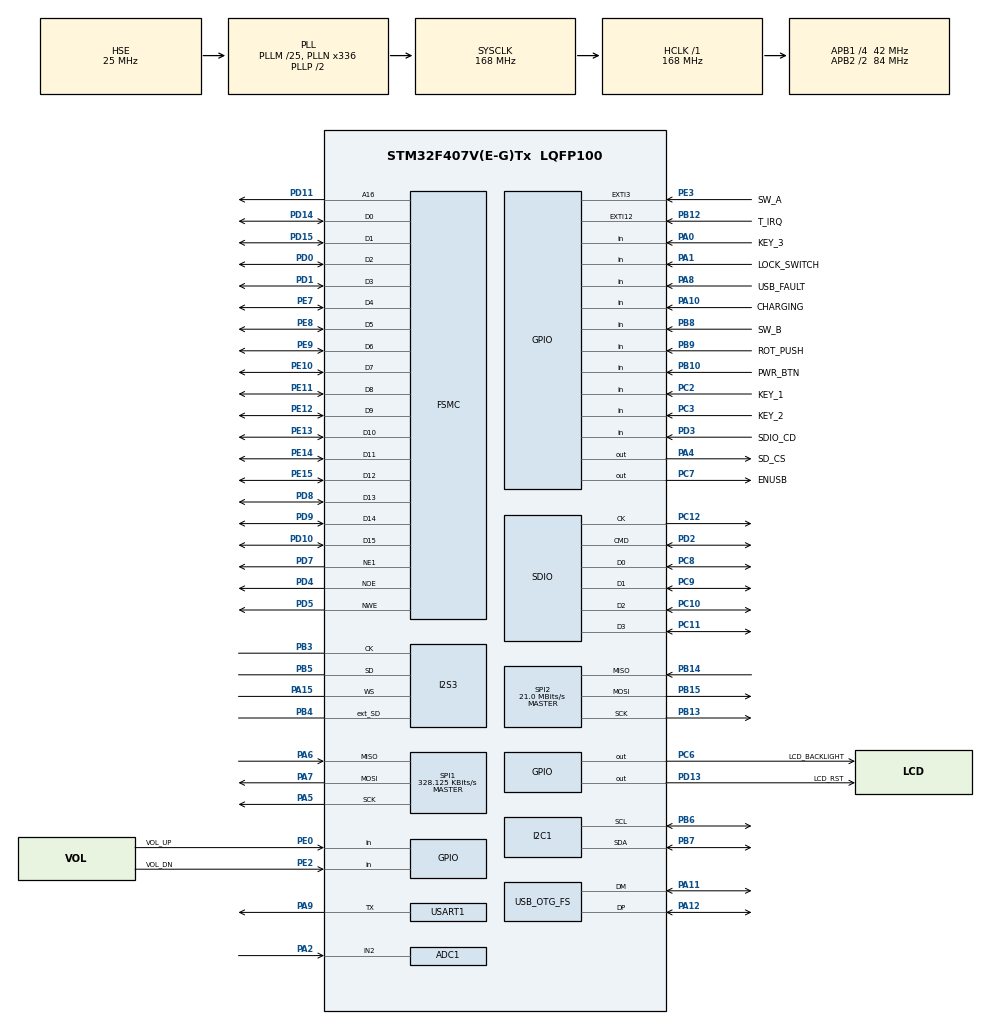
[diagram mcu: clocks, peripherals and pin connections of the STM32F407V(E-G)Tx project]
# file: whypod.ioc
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PD7.Mode=NorPsramChipSelect1_1
PH0-OSC_IN.Signal=RCC_OSC_IN
FATFS._USE_LFN=2
SPI1.VirtualType=VM_MASTER
FATFS0.BSP.api=Unknown
PB10.GPIO_PuPd=GPIO_PULLUP
SPI2.VirtualType=VM_MASTER
VP_FATFS_VS_SDIO.Mode=SDIO
PA10.GPIO_PuPd=GPIO_PULLUP
PC12.Signal=SDIO_CK
Dma.SDIO_RX.1.Direction=DMA_PERIPH_TO_MEMORY
PC6.GPIO_Label=LCD_BACKLIGHT
Dma.SDIO_RX.1.Priority=DMA_PRIORITY_VERY_HIGH
PB13.Signal=SPI2_SCK
RCC.SYSCLKSource=RCC_SYSCLKSOURCE_PLLCLK
PA9.GPIO_ModeDefaultOD=GPIO_MODE_AF_PP
Dma.SDIO_RX.1.Instance=DMA2_Stream3
Dma.SDIO_TX.2.MemDataAlignment=DMA_MDATAALIGN_WORD
SPI1.Direction=SPI_DIRECTION_2LINES
PD4.Signal=FSMC_NOE
RCC.APB2TimFreq_Value=168000000
Dma.SDIO_RX.1.FIFOMode=DMA_FIFOMODE_ENABLE
PB6.Signal=I2C1_SCL
Dma.ADC1.0.Direction=DMA_PERIPH_TO_MEMORY
PC7.Signal=GPIO_Output
PB6.Mode=I2C
SPI1.CalculateBaudRate=328.125 KBits/s
PC3.Signal=GPIO_Input
PD0.Signal=FSMC_D2
PD8.Signal=FSMC_D13
PA1.GPIO_PuPd=GPIO_PULLUP
Dma.ADC1.0.MemDataAlignment=DMA_MDATAALIGN_HALFWORD
FATFS0.BSP.ip=GPIO
PB3.Mode=Full_Duplex_Master
ADC1.ScanConvMode=DISABLE
FATFS0.BSP.i2caddr=0
PB12.GPIO_Label=T_IRQ
I2S3.ErrorAudioFreq=1.72 %
PE9.Signal=FSMC_D6
PB14.Mode=Full_Duplex_Master
Dma.ADC1.0.PeriphInc=DMA_PINC_DISABLE
PC9.Mode=SD_4_bits_Wide_bus
SPI2.CalculateBaudRate=21.0 MBits/s
PE2.Signal=GPIO_Input
PA8.Signal=GPIO_Input
PE13.Mode=16b-d1
PE10.Signal=FSMC_D7
FATFS._FS_TIMEOUT=10000
PD15.Mode=16b-d1
Mcu.Package=LQFP100
PB9.Signal=GPIO_Input
SPI2.Mode=SPI_MODE_MASTER
FATFS0.BSP.solution=PD3
PA10.Signal=GPIO_Input
PB9.GPIO_PuPd=GPIO_PULLUP
PE9.Mode=16b-d1
PC11.Mode=SD_4_bits_Wide_bus
RCC.APB2CLKDivider=RCC_HCLK_DIV2
PD4.Mode=Lcd1
RCC.APB1TimFreq_Value=84000000
Dma.ADC1.0.FIFOMode=DMA_FIFOMODE_DISABLE
PB13.Mode=Full_Duplex_Master
VP_LIBJPEG_VS_JPEGLIB.Mode=Enabled
PA4.GPIO_Label=SD_CS
Dma.SDIO_TX.2.FIFOThreshold=DMA_FIFO_THRESHOLD_FULL
PD15.Signal=FSMC_D1
PA5.Mode=Full_Duplex_Master
PE12.Mode=16b-d1
Dma.SDIO_TX.2.MemInc=DMA_MINC_ENABLE
FATFS0.BSP.STBoard=false
I2S3.FullDuplexMode=I2S_FULLDUPLEXMODE_ENABLE
Dma.ADC1.0.Instance=DMA2_Stream0
FATFS0.BSP.mode=Input
PD3.Signal=GPIO_Input
PB8.GPIO_PuPd=GPIO_PULLUP
PC6.Signal=GPIO_Output
PE10.Mode=16b-d1
PC2.Signal=GPIO_Input
PD7.Signal=FSMC_NE1
PD1.Signal=FSMC_D3
RCC.APB1CLKDivider=RCC_HCLK_DIV4
PC14-OSC32_IN.Signal=RCC_OSC32_IN
I2S3.DataFormat=I2S_DATAFORMAT_24B
PA0-WKUP.GPIO_Label=KEY_3
PA0-WKUP.Signal=GPIO_Input
PE8.Mode=16b-d1
PD10.Signal=FSMC_D15
PB8.GPIO_Label=SW_B
PA8.GPIO_Label=USB_FAULT
Dma.ADC1.0.Priority=DMA_PRIORITY_LOW
PA9.Signal=USART1_TX
I2S3.VirtualMode=I2S_MODE_MASTER
Dma.SDIO_TX.2.PeriphDataAlignment=DMA_PDATAALIGN_WORD
SDIO.ClockDiv=0
NVIC.DMA2_Stream6_IRQn=true\:0\:0\:false\:false\:true\:false\:true
PD8.Mode=16b-d1
PB10.Signal=GPIO_Input
Dma.SDIO_RX.1.FIFOThreshold=DMA_FIFO_THRESHOLD_FULL
PB14.Signal=SPI2_MISO
FATFS.BSP.number=1
PE2.GPIO_PuPd=GPIO_PULLUP
PA5.Signal=SPI1_SCK
I2S3.AudioFreq=I2S_AUDIOFREQ_48K
PC12.Mode=SD_4_bits_Wide_bus
Dma.SDIO_RX.1.MemBurst=DMA_MBURST_INC4
PD1.Mode=16b-d1
PE14.Signal=FSMC_D11
PE15.Signal=FSMC_D12
USART1.Mode=MODE_TX
PE8.Signal=FSMC_D5
SPI1.Mode=SPI_MODE_MASTER
PA1.GPIO_Label=LOCK_SWITCH
PE3.GPIO_PuPd=GPIO_PULLUP
ADC1.DMAContinuousRequests=ENABLE
PA13.Mode=Serial_Wire
Dma.SDIO_TX.2.Priority=DMA_PRIORITY_VERY_HIGH
PC7.GPIO_Label=ENUSB
RCC.LockedElements=AHBOutput
PC8.Mode=SD_4_bits_Wide_bus
PA4.Signal=GPIO_Output
ADC1.SamplingTime-1\#ChannelRegularConversion=ADC_SAMPLETIME_3CYCLES
PB5.Signal=I2S3_SD
ADC1.master=1
PD11.Signal=FSMC_A16
USART1.VirtualMode=VM_ASYNC
ADC1.Rank-1\#ChannelRegularConversion=1
PA11.Signal=USB_OTG_FS_DM
Dma.SDIO_TX.2.MemBurst=DMA_MBURST_INC4
ProjectManager.HeapSize=0x200
Dma.SDIO_RX.1.MemInc=DMA_MINC_ENABLE
NVIC.PriorityGroup=NVIC_PRIORITYGROUP_4
PE3.Signal=GPXTI3
PC3.GPIO_Label=KEY_2
PA0-WKUP.GPIO_PuPd=GPIO_PULLUP
Dma.SDIO_TX.2.PeriphInc=DMA_PINC_DISABLE
I2S3.Instance=SPI$Index
PD2.Signal=SDIO_CMD
PB12.GPIO_PuPd=GPIO_PULLUP
FATFS0.BSP.name=Detect_SDIO
PE15.Mode=16b-d1
Mcu.Family=STM32F4
PA6.Mode=Full_Duplex_Master
RCC.CortexFreq_Value=168000000
Dma.SDIO_RX.1.PeriphDataAlignment=DMA_PDATAALIGN_WORD
ADC1.ContinuousConvMode=DISABLE
USART1.BaudRate=115200
SH.ADCx_IN2.0=ADC1_IN2,IN2
PC10.Signal=SDIO_D2
Dma.SDIO_RX.1.Mode=DMA_PFCTRL
NVIC.EXTI3_IRQn=true\:0\:0\:false\:false\:true\:true\:true
PA11.Mode=Device_Only
PB15.Signal=SPI2_MOSI
PD9.Mode=16b-d1
ProjectManager.StackSize=0x400
Dma.SDIO_TX.2.Mode=DMA_PFCTRL
PD13.Signal=GPIO_Output
PA12.Signal=USB_OTG_FS_DP
PE11.Mode=16b-d1
RCC.HCLKFreq_Value=168000000
PD10.Mode=16b-d1
NVIC.DMA2_Stream0_IRQn=true\:0\:0\:false\:false\:true\:false\:true
RCC.AHBFreq_Value=168000000
PH0-OSC_IN.Mode=HSE-External-Oscillator
PD5.Mode=Lcd1
RCC.HSE_VALUE=25000000
PA15.Mode=Full_Duplex_Master
PA4.GPIO_Speed=GPIO_SPEED_FREQ_VERY_HIGH
PB4.Mode=Full_Duplex_Master
PE13.Signal=FSMC_D10
PC14-OSC32_IN.Mode=LSE-External-Oscillator
PA14.Mode=Serial_Wire
PD14.Mode=16b-d1
PB5.Mode=Full_Duplex_Master
PA10.GPIO_Label=CHARGING
Dma.SDIO_TX.2.Direction=DMA_MEMORY_TO_PERIPH
PB7.Signal=I2C1_SDA
PH1-OSC_OUT.Mode=HSE-External-Oscillator
PD13.GPIO_Label=LCD_RST
PA6.Signal=SPI1_MISO
Dma.SDIO_TX.2.PeriphBurst=DMA_PBURST_INC4
USB_OTG_FS.VirtualMode=Device_Only
PA15.Signal=I2S3_WS
Dma.SDIO_RX.1.PeriphBurst=DMA_PBURST_INC4
PE0.GPIO_Label=VOL_UP
FATFS._FS_LOCK=3
Dma.Request2=SDIO_TX
Dma.Request1=SDIO_RX
SPI2.Direction=SPI_DIRECTION_2LINES
PD3.GPIO_Label=SDIO_CD
PE7.Signal=FSMC_D4
Dma.Request0=ADC1
SPI1.BaudRatePrescaler=SPI_BAUDRATEPRESCALER_256
PE2.GPIO_Label=VOL_DN
PC2.GPIO_Label=KEY_1
PB4.Signal=I2S3_ext_SD
PE0.GPIO_PuPd=GPIO_PULLUP
PE3.GPIO_ModeDefaultEXTI=GPIO_MODE_IT_FALLING
PC15-OSC32_OUT.Mode=LSE-External-Oscillator
PA7.Mode=Full_Duplex_Master
PB9.GPIO_Label=ROT_PUSH
FATFS._USE_MUTEX=1
PC11.Signal=SDIO_D3
PC8.Signal=SDIO_D0
PC10.Mode=SD_4_bits_Wide_bus
PD9.Signal=FSMC_D14
PD5.Signal=FSMC_NWE
Dma.SDIO_TX.2.Instance=DMA2_Stream6
PA9.GPIO_PuPd=GPIO_PULLUP
NVIC.SDIO_IRQn=true\:5\:0\:true\:false\:true\:true\:true
Dma.SDIO_RX.1.PeriphInc=DMA_PINC_DISABLE
FATFS0.BSP.instance=PD3
PA13.Signal=SYS_JTMS-SWDIO
Dma.ADC1.0.PeriphDataAlignment=DMA_PDATAALIGN_HALFWORD
PA9.Mode=Half_duplex(single_wire_mode)
ProjectManager.TargetToolchain=STM32CubeIDE
PB10.GPIO_Label=PWR_BTN
Dma.ADC1.0.Mode=DMA_NORMAL
ADC1.Channel-1\#ChannelRegularConversion=ADC_CHANNEL_2
NVIC.DMA2_Stream3_IRQn=true\:0\:0\:false\:false\:true\:false\:true
PE11.Signal=FSMC_D8
PC15-OSC32_OUT.Signal=RCC_OSC32_OUT
PA1.Signal=GPIO_Input
Dma.SDIO_RX.1.MemDataAlignment=DMA_MDATAALIGN_WORD
PD2.Mode=SD_4_bits_Wide_bus
board=custom
RCC.VCOOutputFreq_Value=336000000
PB15.Mode=Full_Duplex_Master
RCC.APB2Freq_Value=84000000
PE14.Mode=16b-d1
PH1-OSC_OUT.Signal=RCC_OSC_OUT
PC2.GPIO_PuPd=GPIO_PULLUP
ADC1.NbrOfConversion=1
Mcu.Name=STM32F407V(E-G)Tx
PE0.Signal=GPIO_Input
PD0.Mode=16b-d1
PE12.Signal=FSMC_D9
PA2.Signal=ADCx_IN2
PD14.Signal=FSMC_D0
RCC.48MHZClocksFreq_Value=48000000
PB3.Signal=I2S3_CK
RCC.SYSCLKFreq_VALUE=168000000
PE7.Mode=16b-d1
PA12.Mode=Device_Only
PB7.Mode=I2C
Dma.ADC1.0.MemInc=DMA_MINC_ENABLE
PA14.Signal=SYS_JTCK-SWCLK
Dma.SDIO_TX.2.FIFOMode=DMA_FIFOMODE_ENABLE
PD11.Mode=A16_1
RCC.HSI_VALUE=16000000
RCC.PLLQ=7
ADC1.NbrOfConversionFlag=1
I2S3.RealAudioFreq=48.828 KHz
RCC.PLLM=25
RCC.PLLN=336
PB8.Signal=GPIO_Input
PE3.GPIO_Label=SW_A
PC9.Signal=SDIO_D1
RCC.APB1Freq_Value=42000000
ADC1.ClockPrescaler=ADC_CLOCK_SYNC_PCLK_DIV8
RCC.PLLI2SN=100
PB12.Signal=GPXTI12
PC3.GPIO_PuPd=GPIO_PULLUP
PA7.Signal=SPI1_MOSI

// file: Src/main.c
/* USER CODE BEGIN Header */
/**
  ******************************************************************************
  * @file           : main.c
  * @brief          : Main program body
  ******************************************************************************
  * @attention
  *
  * <h2><center>&copy; Copyright (c) 2021 STMicroelectronics.
  * All rights reserved.</center></h2>
  *
  * This software component is licensed by ST under Ultimate Liberty license
  * SLA0044, the "License"; You may not use this file except in compliance with
  * the License. You may obtain a copy of the License at:
  *                             www.st.com/SLA0044
  *
  ******************************************************************************
  */
/* USER CODE END Header */
#include "main.h"
#include "fatfs.h"
#include "libjpeg.h"

/* USER CODE BEGIN Includes */
#include <stdio.h>
#include <stdint.h>
#include <errno.h>
#include <sys/unistd.h> // STDOUT_FILENO, STDERR_FILENO
#include "buttons.h"
#include "mad.h"
#include "audio.h"
#include "stm32_adafruit_lcd.h"
/* USER CODE END Includes */

ADC_HandleTypeDef hadc1;
DMA_HandleTypeDef hdma_adc1;

I2C_HandleTypeDef hi2c1;

I2S_HandleTypeDef hi2s3;

SD_HandleTypeDef hsd;
DMA_HandleTypeDef hdma_sdio_rx;
DMA_HandleTypeDef hdma_sdio_tx;

SPI_HandleTypeDef hspi1;
SPI_HandleTypeDef hspi2;

UART_HandleTypeDef huart1;

PCD_HandleTypeDef hpcd_USB_OTG_FS;

SRAM_HandleTypeDef hsram1;

/* USER CODE BEGIN PV */
FATFS FatFS;
uint32_t pomiarADC = 0;
/* USER CODE END PV */

void SystemClock_Config(void);
static void MX_GPIO_Init(void);
static void MX_DMA_Init(void);
static void MX_ADC1_Init(void);
static void MX_FSMC_Init(void);
static void MX_I2C1_Init(void);
static void MX_I2S3_Init(void);
static void MX_SDIO_SD_Init(void);
static void MX_SPI1_Init(void);
static void MX_SPI2_Init(void);
static void MX_USB_OTG_FS_PCD_Init(void);
static void MX_USART1_UART_Init(void);
/* USER CODE BEGIN PFP */
extern void jpg_view(char* fn);
static void usb_write (void);
/* USER CODE END PFP */

int main(void)
{
  /* USER CODE BEGIN 1 */
  FRESULT res;

  int8_t rot;
  static uint32_t voltimer = 0;
  static uint32_t usbtimer = 0;
  uint8_t buf[64];

  static button_t pwr_btn;
  static button_t key1;
  static button_t key2;
  static button_t key3;
  static button_t volup;
  static button_t voldn;
  static button_t rot_push;
  /* USER CODE END 1 */

  /* MCU Configuration--------------------------------------------------------*/

  /* Reset of all peripherals, Initializes the Flash interface and the Systick. */
  HAL_Init();

  /* Configure the system clock */
  SystemClock_Config();

  /* Initialize all configured peripherals */
  MX_GPIO_Init();
  MX_DMA_Init();
  MX_ADC1_Init();
  MX_FSMC_Init();
  MX_I2C1_Init();
  MX_I2S3_Init();
  MX_SDIO_SD_Init();
  MX_SPI1_Init();
  MX_SPI2_Init();
  MX_USB_OTG_FS_PCD_Init();
  MX_FATFS_Init();
  MX_USART1_UART_Init();
  MX_LIBJPEG_Init();
  /* USER CODE BEGIN 2 */
  BSP_LCD_Init();
  printf("Display ID = %X\r\n", (unsigned int)BSP_LCD_ReadID());
  BSP_LCD_SetTextColor(LCD_COLOR_GREEN);

  res = f_mount(&FatFS, "0:", 0);
  if (res != FR_OK) {printf("f_mount error code: %i\r\n", res);}
  else {printf("f_mount OK\r\n");}

  button_init(&pwr_btn, PWR_BTN_GPIO_Port, PWR_BTN_Pin, pwr_btn_callback, NULL);
  button_init(&key1, KEY_1_GPIO_Port, KEY_1_Pin, key1_callback, NULL);
  button_init(&key2, KEY_2_GPIO_Port, KEY_2_Pin, key2_callback, NULL);
  button_init(&key3, KEY_3_GPIO_Port, KEY_3_Pin, key3_callback, NULL);
  button_init(&volup, VOL_UP_GPIO_Port, VOL_UP_Pin, volup_callback, NULL);
  button_init(&voldn, VOL_DN_GPIO_Port, VOL_DN_Pin, voldn_callback, NULL);
  button_init(&rot_push, ROT_PUSH_GPIO_Port, ROT_PUSH_Pin, rot_push_callback, NULL);

  /* USER CODE END 2 */

  /* Infinite loop */
  /* USER CODE BEGIN WHILE */
  while (1)
  {
	rot = rotary_handle();
	if (rot) printf("Rotary: %d\r\n", rot);
	button_handle(&pwr_btn);
	button_handle(&key1);
	button_handle(&key2);
	button_handle(&key3);
	button_handle(&volup);
	button_handle(&voldn);
	button_handle(&rot_push);

	//if ( (uint32_t)( HAL_GetTick() - usbtimer) > 10000 ) {
	//	usbtimer = HAL_GetTick();
	//	usb_write();
	//}

	if ( (uint32_t) (HAL_GetTick() - voltimer) > 1000 ) {
		voltimer = HAL_GetTick();

		HAL_ADC_Start_DMA(&hadc1, &pomiarADC, 1);

		sprintf((char*)buf, "Uptime: %lu", HAL_GetTick()/1000);
		BSP_LCD_DisplayStringAtLine(0, buf);
		sprintf((char*)buf, "Battery: %.2fV %s", (3.3*pomiarADC)/4095.0*2, !HAL_GPIO_ReadPin(CHARGING_GPIO_Port, CHARGING_Pin) ? "(Charging)" : "          ");
		BSP_LCD_DisplayStringAtLine(1, buf);

		BSP_LCD_DrawCircle(100, 100, 30);
		BSP_LCD_DrawRect(100, 100, 60, 60);
		BSP_LCD_DrawCircle(160, 160, 30);
	}
    /* USER CODE END WHILE */

  }
}

void SystemClock_Config(void)
{
  RCC_OscInitTypeDef RCC_OscInitStruct = {0};
  RCC_ClkInitTypeDef RCC_ClkInitStruct = {0};
  RCC_PeriphCLKInitTypeDef PeriphClkInitStruct = {0};

  /** Configure the main internal regulator output voltage
  */
  __HAL_RCC_PWR_CLK_ENABLE();
  __HAL_PWR_VOLTAGESCALING_CONFIG(PWR_REGULATOR_VOLTAGE_SCALE1);
  /** Initializes the RCC Oscillators according to the specified parameters
  * in the RCC_OscInitTypeDef structure.
  */
  RCC_OscInitStruct.OscillatorType = RCC_OSCILLATORTYPE_HSE;
  RCC_OscInitStruct.HSEState = RCC_HSE_ON;
  RCC_OscInitStruct.PLL.PLLState = RCC_PLL_ON;
  RCC_OscInitStruct.PLL.PLLSource = RCC_PLLSOURCE_HSE;
  RCC_OscInitStruct.PLL.PLLM = 25;
  RCC_OscInitStruct.PLL.PLLN = 336;
  RCC_OscInitStruct.PLL.PLLP = RCC_PLLP_DIV2;
  RCC_OscInitStruct.PLL.PLLQ = 7;
  if (HAL_RCC_OscConfig(&RCC_OscInitStruct) != HAL_OK)
  {
    Error_Handler();
  }
  /** Initializes the CPU, AHB and APB buses clocks
  */
  RCC_ClkInitStruct.ClockType = RCC_CLOCKTYPE_HCLK|RCC_CLOCKTYPE_SYSCLK
                              |RCC_CLOCKTYPE_PCLK1|RCC_CLOCKTYPE_PCLK2;
  RCC_ClkInitStruct.SYSCLKSource = RCC_SYSCLKSOURCE_PLLCLK;
  RCC_ClkInitStruct.AHBCLKDivider = RCC_SYSCLK_DIV1;
  RCC_ClkInitStruct.APB1CLKDivider = RCC_HCLK_DIV4;
  RCC_ClkInitStruct.APB2CLKDivider = RCC_HCLK_DIV2;

  if (HAL_RCC_ClockConfig(&RCC_ClkInitStruct, FLASH_LATENCY_5) != HAL_OK)
  {
    Error_Handler();
  }
  PeriphClkInitStruct.PeriphClockSelection = RCC_PERIPHCLK_I2S;
  PeriphClkInitStruct.PLLI2S.PLLI2SN = 100;
  PeriphClkInitStruct.PLLI2S.PLLI2SR = 2;
  if (HAL_RCCEx_PeriphCLKConfig(&PeriphClkInitStruct) != HAL_OK)
  {
    Error_Handler();
  }
}

static void MX_ADC1_Init(void)
{

  ADC_ChannelConfTypeDef sConfig = {0};

  /** Configure the global features of the ADC (Clock, Resolution, Data Alignment and number of conversion)
  */
  hadc1.Instance = ADC1;
  hadc1.Init.ClockPrescaler = ADC_CLOCK_SYNC_PCLK_DIV8;
  hadc1.Init.Resolution = ADC_RESOLUTION_12B;
  hadc1.Init.ScanConvMode = DISABLE;
  hadc1.Init.ContinuousConvMode = DISABLE;
  hadc1.Init.DiscontinuousConvMode = DISABLE;
  hadc1.Init.ExternalTrigConvEdge = ADC_EXTERNALTRIGCONVEDGE_NONE;
  hadc1.Init.ExternalTrigConv = ADC_SOFTWARE_START;
  hadc1.Init.DataAlign = ADC_DATAALIGN_RIGHT;
  hadc1.Init.NbrOfConversion = 1;
  hadc1.Init.DMAContinuousRequests = ENABLE;
  hadc1.Init.EOCSelection = ADC_EOC_SINGLE_CONV;
  if (HAL_ADC_Init(&hadc1) != HAL_OK)
  {
    Error_Handler();
  }
  /** Configure for the selected ADC regular channel its corresponding rank in the sequencer and its sample time.
  */
  sConfig.Channel = ADC_CHANNEL_2;
  sConfig.Rank = 1;
  sConfig.SamplingTime = ADC_SAMPLETIME_3CYCLES;
  if (HAL_ADC_ConfigChannel(&hadc1, &sConfig) != HAL_OK)
  {
    Error_Handler();
  }

}

static void MX_I2C1_Init(void)
{

  hi2c1.Instance = I2C1;
  hi2c1.Init.ClockSpeed = 100000;
  hi2c1.Init.DutyCycle = I2C_DUTYCYCLE_2;
  hi2c1.Init.OwnAddress1 = 0;
  hi2c1.Init.AddressingMode = I2C_ADDRESSINGMODE_7BIT;
  hi2c1.Init.DualAddressMode = I2C_DUALADDRESS_DISABLE;
  hi2c1.Init.OwnAddress2 = 0;
  hi2c1.Init.GeneralCallMode = I2C_GENERALCALL_DISABLE;
  hi2c1.Init.NoStretchMode = I2C_NOSTRETCH_DISABLE;
  if (HAL_I2C_Init(&hi2c1) != HAL_OK)
  {
    Error_Handler();
  }

}

static void MX_I2S3_Init(void)
{

  hi2s3.Instance = SPI3;
  hi2s3.Init.Mode = I2S_MODE_MASTER_TX;
  hi2s3.Init.Standard = I2S_STANDARD_PHILIPS;
  hi2s3.Init.DataFormat = I2S_DATAFORMAT_24B;
  hi2s3.Init.MCLKOutput = I2S_MCLKOUTPUT_DISABLE;
  hi2s3.Init.AudioFreq = I2S_AUDIOFREQ_48K;
  hi2s3.Init.CPOL = I2S_CPOL_LOW;
  hi2s3.Init.ClockSource = I2S_CLOCK_PLL;
  hi2s3.Init.FullDuplexMode = I2S_FULLDUPLEXMODE_ENABLE;
  if (HAL_I2S_Init(&hi2s3) != HAL_OK)
  {
    Error_Handler();
  }

}

static void MX_SDIO_SD_Init(void)
{

  hsd.Instance = SDIO;
  hsd.Init.ClockEdge = SDIO_CLOCK_EDGE_RISING;
  hsd.Init.ClockBypass = SDIO_CLOCK_BYPASS_DISABLE;
  hsd.Init.ClockPowerSave = SDIO_CLOCK_POWER_SAVE_DISABLE;
  hsd.Init.BusWide = SDIO_BUS_WIDE_1B;
  hsd.Init.HardwareFlowControl = SDIO_HARDWARE_FLOW_CONTROL_DISABLE;
  hsd.Init.ClockDiv = 0;

}

static void MX_SPI1_Init(void)
{

  /* SPI1 parameter configuration*/
  hspi1.Instance = SPI1;
  hspi1.Init.Mode = SPI_MODE_MASTER;
  hspi1.Init.Direction = SPI_DIRECTION_2LINES;
  hspi1.Init.DataSize = SPI_DATASIZE_8BIT;
  hspi1.Init.CLKPolarity = SPI_POLARITY_LOW;
  hspi1.Init.CLKPhase = SPI_PHASE_1EDGE;
  hspi1.Init.NSS = SPI_NSS_SOFT;
  hspi1.Init.BaudRatePrescaler = SPI_BAUDRATEPRESCALER_256;
  hspi1.Init.FirstBit = SPI_FIRSTBIT_MSB;
  hspi1.Init.TIMode = SPI_TIMODE_DISABLE;
  hspi1.Init.CRCCalculation = SPI_CRCCALCULATION_DISABLE;
  hspi1.Init.CRCPolynomial = 10;
  if (HAL_SPI_Init(&hspi1) != HAL_OK)
  {
    Error_Handler();
  }

}

static void MX_SPI2_Init(void)
{

  /* SPI2 parameter configuration*/
  hspi2.Instance = SPI2;
  hspi2.Init.Mode = SPI_MODE_MASTER;
  hspi2.Init.Direction = SPI_DIRECTION_2LINES;
  hspi2.Init.DataSize = SPI_DATASIZE_8BIT;
  hspi2.Init.CLKPolarity = SPI_POLARITY_LOW;
  hspi2.Init.CLKPhase = SPI_PHASE_1EDGE;
  hspi2.Init.NSS = SPI_NSS_SOFT;
  hspi2.Init.BaudRatePrescaler = SPI_BAUDRATEPRESCALER_2;
  hspi2.Init.FirstBit = SPI_FIRSTBIT_MSB;
  hspi2.Init.TIMode = SPI_TIMODE_DISABLE;
  hspi2.Init.CRCCalculation = SPI_CRCCALCULATION_DISABLE;
  hspi2.Init.CRCPolynomial = 10;
  if (HAL_SPI_Init(&hspi2) != HAL_OK)
  {
    Error_Handler();
  }

}

static void MX_USART1_UART_Init(void)
{

  huart1.Instance = USART1;
  huart1.Init.BaudRate = 115200;
  huart1.Init.WordLength = UART_WORDLENGTH_8B;
  huart1.Init.StopBits = UART_STOPBITS_1;
  huart1.Init.Parity = UART_PARITY_NONE;
  huart1.Init.Mode = UART_MODE_TX;
  huart1.Init.HwFlowCtl = UART_HWCONTROL_NONE;
  huart1.Init.OverSampling = UART_OVERSAMPLING_16;
  if (HAL_HalfDuplex_Init(&huart1) != HAL_OK)
  {
    Error_Handler();
  }

}

static void MX_USB_OTG_FS_PCD_Init(void)
{

  hpcd_USB_OTG_FS.Instance = USB_OTG_FS;
  hpcd_USB_OTG_FS.Init.dev_endpoints = 4;
  hpcd_USB_OTG_FS.Init.speed = PCD_SPEED_FULL;
  hpcd_USB_OTG_FS.Init.dma_enable = DISABLE;
  hpcd_USB_OTG_FS.Init.phy_itface = PCD_PHY_EMBEDDED;
  hpcd_USB_OTG_FS.Init.Sof_enable = DISABLE;
  hpcd_USB_OTG_FS.Init.low_power_enable = DISABLE;
  hpcd_USB_OTG_FS.Init.lpm_enable = DISABLE;
  hpcd_USB_OTG_FS.Init.vbus_sensing_enable = DISABLE;
  hpcd_USB_OTG_FS.Init.use_dedicated_ep1 = DISABLE;
  if (HAL_PCD_Init(&hpcd_USB_OTG_FS) != HAL_OK)
  {
    Error_Handler();
  }

}

static void MX_DMA_Init(void)
{

  /* DMA controller clock enable */
  __HAL_RCC_DMA2_CLK_ENABLE();

  /* DMA interrupt init */
  /* DMA2_Stream0_IRQn interrupt configuration */
  HAL_NVIC_SetPriority(DMA2_Stream0_IRQn, 0, 0);
  HAL_NVIC_EnableIRQ(DMA2_Stream0_IRQn);
  /* DMA2_Stream3_IRQn interrupt configuration */
  HAL_NVIC_SetPriority(DMA2_Stream3_IRQn, 0, 0);
  HAL_NVIC_EnableIRQ(DMA2_Stream3_IRQn);
  /* DMA2_Stream6_IRQn interrupt configuration */
  HAL_NVIC_SetPriority(DMA2_Stream6_IRQn, 0, 0);
  HAL_NVIC_EnableIRQ(DMA2_Stream6_IRQn);

}

static void MX_GPIO_Init(void)
{
  GPIO_InitTypeDef GPIO_InitStruct = {0};

  /* GPIO Ports Clock Enable */
  __HAL_RCC_GPIOE_CLK_ENABLE();
  __HAL_RCC_GPIOC_CLK_ENABLE();
  __HAL_RCC_GPIOH_CLK_ENABLE();
  __HAL_RCC_GPIOA_CLK_ENABLE();
  __HAL_RCC_GPIOB_CLK_ENABLE();
  __HAL_RCC_GPIOD_CLK_ENABLE();

  /*Configure GPIO pin Output Level */
  HAL_GPIO_WritePin(SD_CS_GPIO_Port, SD_CS_Pin, GPIO_PIN_RESET);

  /*Configure GPIO pin Output Level */
  HAL_GPIO_WritePin(LCD_RST_GPIO_Port, LCD_RST_Pin, GPIO_PIN_RESET);

  /*Configure GPIO pin Output Level */
  HAL_GPIO_WritePin(GPIOC, LCD_BACKLIGHT_Pin|ENUSB_Pin, GPIO_PIN_RESET);

  /*Configure GPIO pins : VOL_DN_Pin VOL_UP_Pin */
  GPIO_InitStruct.Pin = VOL_DN_Pin|VOL_UP_Pin;
  GPIO_InitStruct.Mode = GPIO_MODE_INPUT;
  GPIO_InitStruct.Pull = GPIO_PULLUP;
  HAL_GPIO_Init(GPIOE, &GPIO_InitStruct);

  /*Configure GPIO pin : SW_A_Pin */
  GPIO_InitStruct.Pin = SW_A_Pin;
  GPIO_InitStruct.Mode = GPIO_MODE_IT_FALLING;
  GPIO_InitStruct.Pull = GPIO_PULLUP;
  HAL_GPIO_Init(SW_A_GPIO_Port, &GPIO_InitStruct);

  /*Configure GPIO pins : KEY_1_Pin KEY_2_Pin */
  GPIO_InitStruct.Pin = KEY_1_Pin|KEY_2_Pin;
  GPIO_InitStruct.Mode = GPIO_MODE_INPUT;
  GPIO_InitStruct.Pull = GPIO_PULLUP;
  HAL_GPIO_Init(GPIOC, &GPIO_InitStruct);

  /*Configure GPIO pins : KEY_3_Pin LOCK_SWITCH_Pin CHARGING_Pin */
  GPIO_InitStruct.Pin = KEY_3_Pin|LOCK_SWITCH_Pin|CHARGING_Pin;
  GPIO_InitStruct.Mode = GPIO_MODE_INPUT;
  GPIO_InitStruct.Pull = GPIO_PULLUP;
  HAL_GPIO_Init(GPIOA, &GPIO_InitStruct);

  /*Configure GPIO pin : SD_CS_Pin */
  GPIO_InitStruct.Pin = SD_CS_Pin;
  GPIO_InitStruct.Mode = GPIO_MODE_OUTPUT_PP;
  GPIO_InitStruct.Pull = GPIO_NOPULL;
  GPIO_InitStruct.Speed = GPIO_SPEED_FREQ_VERY_HIGH;
  HAL_GPIO_Init(SD_CS_GPIO_Port, &GPIO_InitStruct);

  /*Configure GPIO pins : PWR_BTN_Pin SW_B_Pin ROT_PUSH_Pin */
  GPIO_InitStruct.Pin = PWR_BTN_Pin|SW_B_Pin|ROT_PUSH_Pin;
  GPIO_InitStruct.Mode = GPIO_MODE_INPUT;
  GPIO_InitStruct.Pull = GPIO_PULLUP;
  HAL_GPIO_Init(GPIOB, &GPIO_InitStruct);

  /*Configure GPIO pin : T_IRQ_Pin */
  GPIO_InitStruct.Pin = T_IRQ_Pin;
  GPIO_InitStruct.Mode = GPIO_MODE_IT_RISING;
  GPIO_InitStruct.Pull = GPIO_PULLUP;
  HAL_GPIO_Init(T_IRQ_GPIO_Port, &GPIO_InitStruct);

  /*Configure GPIO pin : LCD_RST_Pin */
  GPIO_InitStruct.Pin = LCD_RST_Pin;
  GPIO_InitStruct.Mode = GPIO_MODE_OUTPUT_PP;
  GPIO_InitStruct.Pull = GPIO_NOPULL;
  GPIO_InitStruct.Speed = GPIO_SPEED_FREQ_LOW;
  HAL_GPIO_Init(LCD_RST_GPIO_Port, &GPIO_InitStruct);

  /*Configure GPIO pins : LCD_BACKLIGHT_Pin ENUSB_Pin */
  GPIO_InitStruct.Pin = LCD_BACKLIGHT_Pin|ENUSB_Pin;
  GPIO_InitStruct.Mode = GPIO_MODE_OUTPUT_PP;
  GPIO_InitStruct.Pull = GPIO_NOPULL;
  GPIO_InitStruct.Speed = GPIO_SPEED_FREQ_LOW;
  HAL_GPIO_Init(GPIOC, &GPIO_InitStruct);

  /*Configure GPIO pin : USB_FAULT_Pin */
  GPIO_InitStruct.Pin = USB_FAULT_Pin;
  GPIO_InitStruct.Mode = GPIO_MODE_INPUT;
  GPIO_InitStruct.Pull = GPIO_NOPULL;
  HAL_GPIO_Init(USB_FAULT_GPIO_Port, &GPIO_InitStruct);

  /*Configure GPIO pin : SDIO_CD_Pin */
  GPIO_InitStruct.Pin = SDIO_CD_Pin;
  GPIO_InitStruct.Mode = GPIO_MODE_INPUT;
  GPIO_InitStruct.Pull = GPIO_NOPULL;
  HAL_GPIO_Init(SDIO_CD_GPIO_Port, &GPIO_InitStruct);

  /* EXTI interrupt init*/
  HAL_NVIC_SetPriority(EXTI3_IRQn, 0, 0);
  HAL_NVIC_EnableIRQ(EXTI3_IRQn);

}

/* FSMC initialization function */
static void MX_FSMC_Init(void)
{

  FSMC_NORSRAM_TimingTypeDef Timing = {0};

  /** Perform the SRAM1 memory initialization sequence
  */
  hsram1.Instance = FSMC_NORSRAM_DEVICE;
  hsram1.Extended = FSMC_NORSRAM_EXTENDED_DEVICE;
  /* hsram1.Init */
  hsram1.Init.NSBank = FSMC_NORSRAM_BANK1;
  hsram1.Init.DataAddressMux = FSMC_DATA_ADDRESS_MUX_DISABLE;
  hsram1.Init.MemoryType = FSMC_MEMORY_TYPE_SRAM;
  hsram1.Init.MemoryDataWidth = FSMC_NORSRAM_MEM_BUS_WIDTH_16;
  hsram1.Init.BurstAccessMode = FSMC_BURST_ACCESS_MODE_DISABLE;
  hsram1.Init.WaitSignalPolarity = FSMC_WAIT_SIGNAL_POLARITY_LOW;
  hsram1.Init.WrapMode = FSMC_WRAP_MODE_DISABLE;
  hsram1.Init.WaitSignalActive = FSMC_WAIT_TIMING_BEFORE_WS;
  hsram1.Init.WriteOperation = FSMC_WRITE_OPERATION_ENABLE;
  hsram1.Init.WaitSignal = FSMC_WAIT_SIGNAL_DISABLE;
  hsram1.Init.ExtendedMode = FSMC_EXTENDED_MODE_DISABLE;
  hsram1.Init.AsynchronousWait = FSMC_ASYNCHRONOUS_WAIT_DISABLE;
  hsram1.Init.WriteBurst = FSMC_WRITE_BURST_DISABLE;
  hsram1.Init.PageSize = FSMC_PAGE_SIZE_NONE;
  /* Timing */
  Timing.AddressSetupTime = 15;
  Timing.AddressHoldTime = 15;
  Timing.DataSetupTime = 255;
  Timing.BusTurnAroundDuration = 15;
  Timing.CLKDivision = 16;
  Timing.DataLatency = 17;
  Timing.AccessMode = FSMC_ACCESS_MODE_A;
  /* ExtTiming */

  if (HAL_SRAM_Init(&hsram1, &Timing, NULL) != HAL_OK)
  {
    Error_Handler( );
  }

}

/* USER CODE BEGIN 4 */
static void usb_write (void) {
    FRESULT res;
    FIL file;

    res = f_open(&file, "0:/test.txt", (FA_OPEN_ALWAYS | FA_WRITE));
    if (res != FR_OK) {
        printf("f_open error code: %i\r\n", res);
        return;
    }
    if (f_size(&file) == 0) {
        f_puts("To jest pierwsza linia\r\n", &file);
    }
    else {
        res = f_lseek(&file, f_size(&file));
        if (res != FR_OK) {
            printf("f_lseek error code: %i\r\n", res);
            f_close(&file);
            return;
        }
    }
    f_puts("To jest test.\n", &file);
    f_close(&file);
}

int _write(int file, char *data, int len)
{
   if ((file != STDOUT_FILENO) && (file != STDERR_FILENO))
   {
      errno = EBADF;
      return -1;
   }

   HAL_HalfDuplex_EnableTransmitter(&huart1);
   HAL_UART_Transmit(&huart1, (uint8_t*)"\0\0\0\0\0", 5, 1000);				//FIX THAT
   HAL_StatusTypeDef status = HAL_UART_Transmit(&huart1, (uint8_t*)data, len, 1000);
   HAL_HalfDuplex_EnableReceiver(&huart1);

   // return # of bytes written - as best we can tell
   return (status == HAL_OK ? len : 0);
}

/* USER CODE END 4 */

void Error_Handler(void)
{
  __disable_irq();
  while (1)
  {
  }
}

/************************ (C) COPYRIGHT STMicroelectronics *****END OF FILE****/
